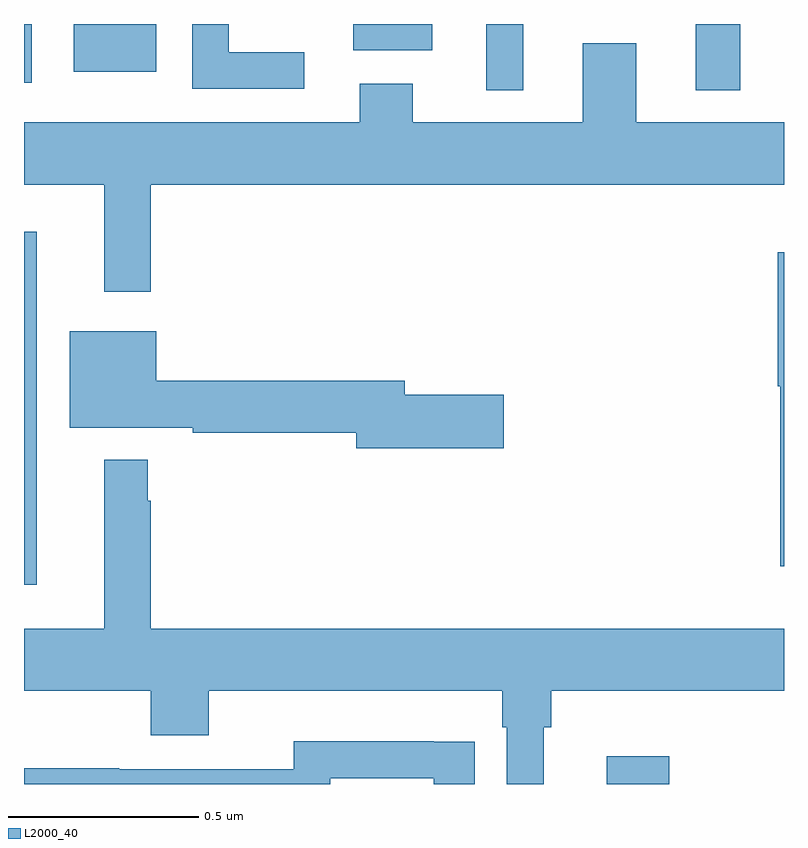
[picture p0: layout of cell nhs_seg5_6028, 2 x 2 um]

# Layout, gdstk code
import gdstk
lib = gdstk.Library(unit=1e-6, precision=1e-09)
def R(c, l, rs):  # rectangles x0, y0, x1, y1
    for r in rs: c.add(gdstk.rectangle(r[:2], r[2:], *l))
def P(c, l, *ps):  # polygons
    for p in ps: c.add(gdstk.Polygon(p, *l))
L2000_40 = (2000, 40)

nhs_seg5_6028 = lib.new_cell('nhs_seg5_6028')
R(nhs_seg5_6028, L2000_40, [(191.534,905.799,191.698,905.872), (190,906.323,190.033,907.252), (191.216,907.625,191.314,907.799), (191.768,907.625,191.885,907.799), (190,907.644,190.021,907.799), (190.131,907.673,190.348,907.799), (190.866,907.73,191.074,907.799)])
P(nhs_seg5_6028, L2000_40, [(190.738,907.725),(190.539,907.725),(190.539,907.799),(190.443,907.799),(190.443,907.629),(190.738,907.629)],
  [(190.333,907.376),(192,907.376),(192,907.54),(191.611,907.54),(191.611,907.748),(191.471,907.748),(191.471,907.54),(191.023,907.54),(191.023,907.642),(190.883,907.642),(190.883,907.54),(190,907.54),(190,907.376),(190.211,907.376),(190.211,907.095),(190.333,907.095)],
  [(192,907.198),(191.984,907.198),(191.984,906.846),(191.99,906.846),(191.99,906.372),(192,906.372)],
  [(191.263,906.824),(191.002,906.824),(191.002,906.86),(190.348,906.86),(190.348,906.991),(190.121,906.991),(190.121,906.737),(190.444,906.737),(190.444,906.724),(190.874,906.724),(190.874,906.682),(191.263,906.682)],
  [(191.368,905.948),(191.387,905.948),(191.387,906.044),(192,906.044),(192,906.208),(190.333,906.208),(190.333,906.545),(190.326,906.545),(190.326,906.652),(190.211,906.652),(190.211,906.208),(190,906.208),(190,906.044),(190.334,906.044),(190.334,905.927),(190.486,905.927),(190.486,906.044),(191.258,906.044),(191.258,905.948),(191.271,905.948),(191.271,905.799),(191.368,905.799)],
  [(190.806,905.814),(191.078,905.814),(191.078,905.799),(191.186,905.799),(191.186,905.91),(191.078,905.91),(191.078,905.911),(190.71,905.911),(190.71,905.838),(190.25,905.838),(190.25,905.84),(190,905.84),(190,905.799),(190.806,905.799)])

lib.write_gds('nhs_seg5_6028.gds')
